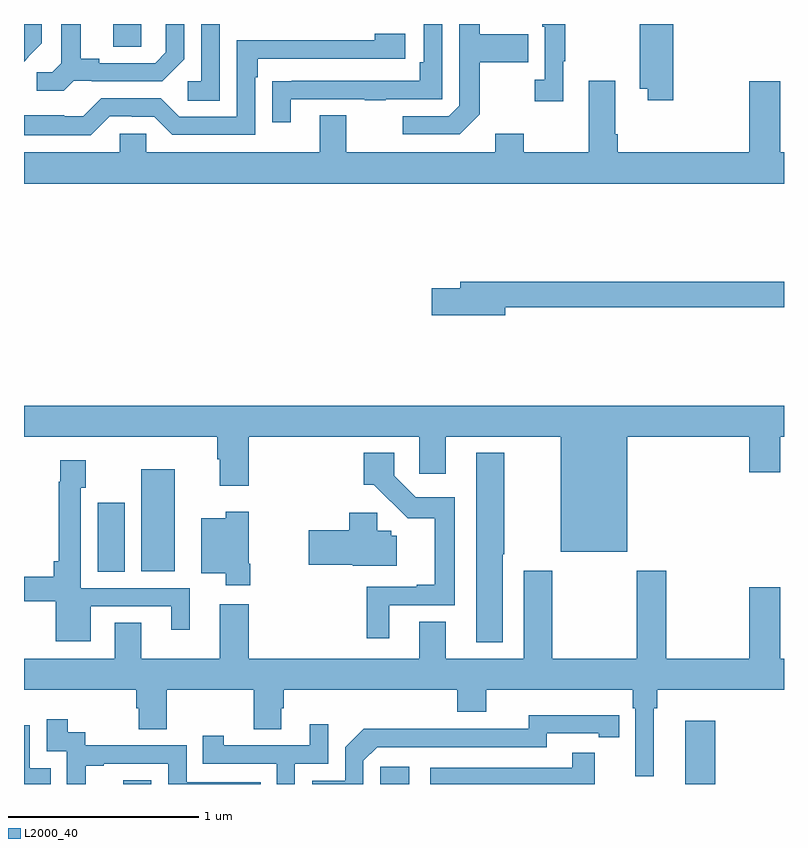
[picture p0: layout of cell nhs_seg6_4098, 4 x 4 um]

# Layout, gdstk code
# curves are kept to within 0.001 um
import gdstk
lib = gdstk.Library(unit=1e-6, precision=1e-09)
def R(c, l, rs):  # rectangles x0, y0, x1, y1
    for r in rs: c.add(gdstk.rectangle(r[:2], r[2:], *l))
def P(c, l, *ps):  # polygons
    for p in ps: c.add(gdstk.Polygon(p, *l))
L2000_40 = (2000, 40)

nhs_seg6_4098 = lib.new_cell('nhs_seg6_4098')
R(nhs_seg6_4098, L2000_40, [(353.523,953.5,353.67,953.521), (354.876,953.5,355.027,953.59), (356.48,953.5,356.639,953.833), (353.387,954.616,353.53,954.979), (353.618,954.62,353.794,955.156), (353.471,957.379,353.616,957.5)])
P(nhs_seg6_4098, L2000_40, [(356.417,957.5),(356.242,957.5),(356.242,957.158),(356.282,957.158),(356.282,957.099),(356.417,957.099)],
  [(355.837,957.305),(355.849,957.305),(355.849,957.5),(355.728,957.5),(355.728,957.485),(355.74,957.485),(355.74,957.206),(355.689,957.206),(355.689,957.093),(355.837,957.093)],
  [(355.399,957.025),(355.399,957.298),(355.655,957.298),(355.655,957.445),(355.399,957.445),(355.399,957.5),(355.29,957.5),(355.29,957.069),(355.236,957.015),(354.993,957.015),(354.993,956.919),(355.293,956.919)],
  [(353.262,957.201),(353.356,957.201),(353.356,957.198),(353.728,957.198),(353.844,957.314),(353.844,957.5),(353.747,957.5),(353.747,957.351),(353.69,957.294),(353.395,957.294),(353.395,957.317),(353.299,957.317),(353.299,957.5),(353.195,957.5),(353.195,957.293),(353.148,957.246),(353.067,957.246),(353.067,957.149),(353.21,957.149)],
  [(353.022,957.324),(353.021,957.325),(353.094,957.398),(353.094,957.5),(353,957.5),(353,957.302)],
  [(354.03,957.5),(353.934,957.5),(353.934,957.198),(353.862,957.198),(353.862,957.097),(354.03,957.097)],
  [(354.403,957.105),(354.793,957.105),(354.793,957.1),(354.905,957.1),(354.905,957.105),(355.2,957.105),(355.2,957.5),(355.104,957.5),(355.104,957.298),(355.084,957.298),(355.084,957.201),(354.409,957.201),(354.409,957.2),(354.307,957.2),(354.307,956.982),(354.403,956.982)],
  [(353.451,957.015),(353.567,957.015),(353.567,957.012),(353.685,957.012),(353.781,956.916),(354.216,956.916),(354.216,957.221),(354.229,957.221),(354.229,957.318),(355.006,957.318),(355.006,957.448),(354.845,957.448),(354.845,957.414),(354.12,957.414),(354.12,957.012),(353.817,957.012),(353.721,957.108),(353.406,957.108),(353.313,957.015),(353.213,957.015),(353.213,957.019),(353,957.019),(353,956.915),(353.351,956.915)],
  [(357,956.824),(356.98,956.824),(356.98,957.199),(356.816,957.199),(356.816,956.824),(356.126,956.824),(356.126,956.92),(356.113,956.92),(356.113,957.202),(355.973,957.202),(355.973,956.824),(355.629,956.824),(355.629,956.923),(355.481,956.923),(355.481,956.824),(354.697,956.824),(354.697,957.019),(354.557,957.019),(354.557,956.824),(353.643,956.824),(353.643,956.922),(353.505,956.922),(353.505,956.824),(353,956.824),(353,956.66),(357,956.66)],
  [(355.534,956.008),(357,956.008),(357,956.144),(355.295,956.144),(355.295,956.108),(355.146,956.108),(355.146,955.966),(355.534,955.966)],
  [(356.176,955.328),(356.816,955.328),(356.816,955.14),(356.98,955.14),(356.98,955.328),(357,955.328),(357,955.492),(353,955.492),(353,955.328),(354.017,955.328),(354.017,955.208),(354.029,955.208),(354.029,955.071),(354.182,955.071),(354.182,955.328),(355.08,955.328),(355.08,955.134),(355.219,955.134),(355.219,955.328),(355.826,955.328),(355.826,954.722),(356.176,954.722)],
  [(354.922,954.441),(355.267,954.441),(355.267,955.008),(355.062,955.008),(354.948,955.122),(354.948,955.243),(354.788,955.243),(354.788,955.076),(354.841,955.076),(355.019,954.899),(355.163,954.899),(355.163,954.55),(355.067,954.55),(355.067,954.537),(354.805,954.537),(354.805,954.267),(354.922,954.267)],
  [(355.519,954.709),(355.527,954.709),(355.527,955.243),(355.379,955.243),(355.379,954.245),(355.519,954.245)],
  [(353.35,954.435),(353.774,954.435),(353.774,954.312),(353.872,954.312),(353.872,954.531),(353.298,954.531),(353.298,955.059),(353.325,955.059),(353.325,955.204),(353.19,955.204),(353.19,955.091),(353.182,955.091),(353.182,954.673),(353.156,954.673),(353.156,954.59),(353,954.59),(353,954.462),(353.168,954.462),(353.168,954.251),(353.35,954.251)],
  [(354.192,954.658),(354.184,954.658),(354.184,954.934),(354.062,954.934),(354.062,954.898),(353.933,954.898),(353.933,954.608),(354.062,954.608),(354.062,954.546),(354.192,954.546)],
  [(354.961,954.807),(354.933,954.807),(354.933,954.834),(354.858,954.834),(354.858,954.928),(354.713,954.928),(354.713,954.836),(354.498,954.836),(354.498,954.653),(354.729,954.653),(354.729,954.65),(354.961,954.65)],
  [(356.314,953.9),(356.333,953.9),(356.333,953.996),(357,953.996),(357,954.16),(356.98,954.16),(356.98,954.535),(356.816,954.535),(356.816,954.16),(356.379,954.16),(356.379,954.622),(356.224,954.622),(356.224,954.16),(355.779,954.16),(355.779,954.622),(355.631,954.622),(355.631,954.16),(355.219,954.16),(355.219,954.355),(355.079,954.355),(355.079,954.16),(354.182,954.16),(354.182,954.445),(354.029,954.445),(354.029,954.16),(353.617,954.16),(353.617,954.35),(353.477,954.35),(353.477,954.16),(353,954.16),(353,953.996),(353.591,953.996),(353.591,953.898),(353.603,953.898),(353.603,953.788),(353.751,953.788),(353.751,953.996),(354.208,953.996),(354.208,953.788),(354.355,953.788),(354.355,953.898),(354.368,953.898),(354.368,953.996),(355.28,953.996),(355.28,953.879),(355.432,953.879),(355.432,953.996),(356.204,953.996),(356.204,953.9),(356.217,953.9),(356.217,953.541),(356.314,953.541)],
  [(354.786,953.622),(354.858,953.694),(355.752,953.694),(355.752,953.766),(356.024,953.766),(356.024,953.746),(356.132,953.746),(356.132,953.862),(355.656,953.863),(355.656,953.79),(355.196,953.79),(355.196,953.792),(354.788,953.792),(354.69,953.694),(354.69,953.517),(354.516,953.517),(354.516,953.5),(354.786,953.5)],
  [(353.324,953.595),(353.419,953.595),(353.419,953.607),(353.76,953.607),(353.76,953.5),(354.245,953.5),(354.245,953.508),(353.856,953.508),(353.856,953.703),(353.322,953.703),(353.322,953.772),(353.23,953.772),(353.23,953.842),(353.121,953.842),(353.121,953.673),(353.226,953.673),(353.226,953.5),(353.324,953.5)],
  [(354.426,953.607),(354.6,953.607),(354.6,953.815),(354.503,953.815),(354.503,953.703),(354.052,953.703),(354.052,953.755),(353.941,953.755),(353.941,953.607),(354.33,953.607),(354.33,953.5),(354.426,953.5)],
  [(353.141,953.583),(353.031,953.583),(353.031,953.808),(353,953.808),(353,953.5),(353.141,953.5)],
  [(356.003,953.665),(355.885,953.665),(355.885,953.586),(355.137,953.586),(355.137,953.5),(356.003,953.5)])

lib.write_gds('nhs_seg6_4098.gds')
